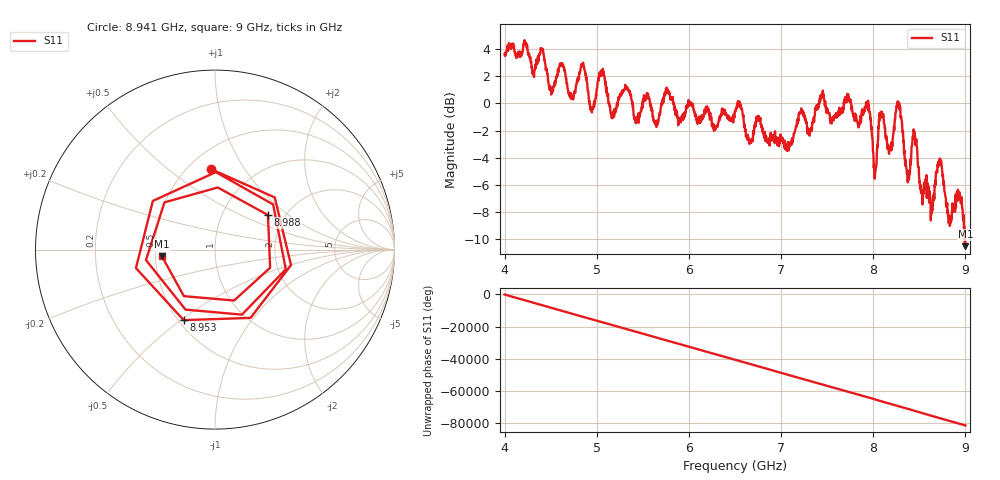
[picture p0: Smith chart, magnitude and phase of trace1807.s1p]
! Created with skrf 1.8.0 (http://scikit-rf.org).
# Hz S RI R 50.0
!freq ReS11 ImS11
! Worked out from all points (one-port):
!   1601 points, 4 GHz to 9 GHz, reference 50 ohm
!   lowest |S11| = -10.5 dB at 9 GHz (marker M1), VSWR 1.85, Z = 27.1 - j2.25 ohm
!   |S11| at or under -10 dB: 8.992029 GHz to end of sweep
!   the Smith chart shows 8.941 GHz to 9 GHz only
!   S11 on the Smith chart (normalised r, x): 8.941 GHz: 0.64, +0.72; 8.953 GHz: 0.53, -0.51; 8.988 GHz: 1.64, +0.72; 9 GHz: 0.54, -0.04
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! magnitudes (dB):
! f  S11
! 4 GHz  3.7
! 4.403 GHz  4.0
! 4.509 GHz  0.9
! 4.625 GHz  2.9
! 4.725 GHz  0.3
! 4.856 GHz  2.7
! 4.947 GHz  -0.7
! 5.05 GHz  2.0
! 5.162 GHz  -1.1
! 5.25 GHz  0.5
! 5.875 GHz  -1.0
! 6.5 GHz  -0.5
! 7.125 GHz  -2.6
! 7.75 GHz  0.1
! 7.941 GHz  -0.1
! 8.022 GHz  -5.0
! 8.084 GHz  -0.8
! 8.181 GHz  -3.2
! 8.275 GHz  -0.3
! 8.375 GHz  -5.8
! 8.45 GHz  -2.2
! 8.631 GHz  -7.5
! 8.722 GHz  -4.1
! 8.828 GHz  -8.8
! 8.941 GHz  -6.9
! 8.953 GHz  -7.3
! 8.988 GHz  -9.1
! 9 GHz  -10.5
